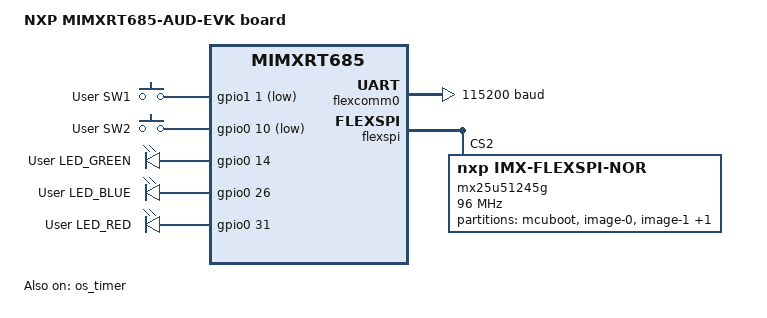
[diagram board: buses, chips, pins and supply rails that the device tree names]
/*
 * SPDX-FileCopyrightText: Copyright 2026 NXP
 * SPDX-License-Identifier: Apache-2.0
 */

/dts-v1/;

#include <nxp/imxrt/imxrt6xx/nxp_rt6xx.dtsi>
#include <zephyr/dt-bindings/input/input-event-codes.h>

#include "mimxrt685_aud_evk-pinctrl.dtsi"

/ {
	compatible = "nxp,mimxrt685";
	model = "NXP MIMXRT685-AUD-EVK board";

	aliases {
		sw0 = &user_button_1;
		sw1 = &user_button_2;
		led0 = &green_led;
		led1 = &blue_led;
		led2 = &red_led;
		usart-0 = &flexcomm0;
	};

	chosen {
		zephyr,flash-controller = &mx25u51245g;
		zephyr,flash = &mx25u51245g_flash;
		zephyr,code-partition = &slot0_partition;
		zephyr,sram = &sram0;
		zephyr,console = &flexcomm0;
		zephyr,shell-uart = &flexcomm0;
	};

	gpio_keys {
		compatible = "gpio-keys";

		user_button_1: button_0 {
			label = "User SW1";
			gpios = <&gpio1 1 GPIO_ACTIVE_LOW>;
			zephyr,code = <INPUT_KEY_0>;
		};

		user_button_2: button_1 {
			label = "User SW2";
			gpios = <&gpio0 10 GPIO_ACTIVE_LOW>;
			zephyr,code = <INPUT_KEY_1>;
		};
	};

	leds: leds {
		compatible = "gpio-leds";

		green_led: led_1 {
			gpios = <&gpio0 14 0>;
			label = "User LED_GREEN";
		};

		blue_led: led_2 {
			gpios = <&gpio0 26 0>;
			label = "User LED_BLUE";
		};

		red_led: led_3 {
			gpios = <&gpio0 31 0>;
			label = "User LED_RED";
		};
	};
};

&os_timer {
	wakeup-source;
	status = "okay";
};

&flexcomm0 {
	compatible = "nxp,lpc-usart";
	current-speed = <115200>;
	pinctrl-0 = <&pinmux_flexcomm0_usart>;
	pinctrl-names = "default";
	status = "okay";
};

&flexspi {
	status = "okay";

	mx25u51245g: flash-controller@2 {
		compatible = "nxp,imx-flexspi-nor";
		reg = <2>;
		ranges = <0x0 0x18000000 DT_SIZE_M(64)>;
		size = <DT_SIZE_M(64 * 8)>;
		spi-max-frequency = <DT_FREQ_M(96)>;
		jedec-id = [c2 25 3a];

		#address-cells = <1>;
		#size-cells = <1>;
		status = "okay";

		mx25u51245g_flash: flash@0 {
			compatible = "soc-nv-flash";
			reg = <0x0 DT_SIZE_M(64)>;
			ranges;
			erase-block-size = <DT_SIZE_K(4)>;
			write-block-size = <1>;
			#address-cells = <1>;
			#size-cells = <1>;

			partitions {
				ranges;
				#address-cells = <1>;
				#size-cells = <1>;

				boot_partition: partition@0 {
					compatible = "zephyr,mapped-partition";
					reg = <0x00000000 DT_SIZE_K(128)>;
					label = "mcuboot";
				};

				slot0_partition: partition@20000 {
					compatible = "zephyr,mapped-partition";
					reg = <0x00020000 DT_SIZE_M(3)>;
					label = "image-0";
				};

				slot1_partition: partition@320000 {
					compatible = "zephyr,mapped-partition";
					reg = <0x00320000 DT_SIZE_M(3)>;
					label = "image-1";
				};

				storage_partition: partition@620000 {
					compatible = "zephyr,mapped-partition";
					reg = <0x00620000 (DT_SIZE_M(58) - DT_SIZE_K(128))>;
					label = "storage";
				};
			};
		};
	};
};

&gpio0 {
	status = "okay";
};

&gpio1 {
	status = "okay";
};

&user_button_1 {
	status = "okay";
};

&user_button_2 {
	status = "okay";
};

&green_led {
	status = "okay";
};

&blue_led {
	status = "okay";
};

&red_led {
	status = "okay";
};
